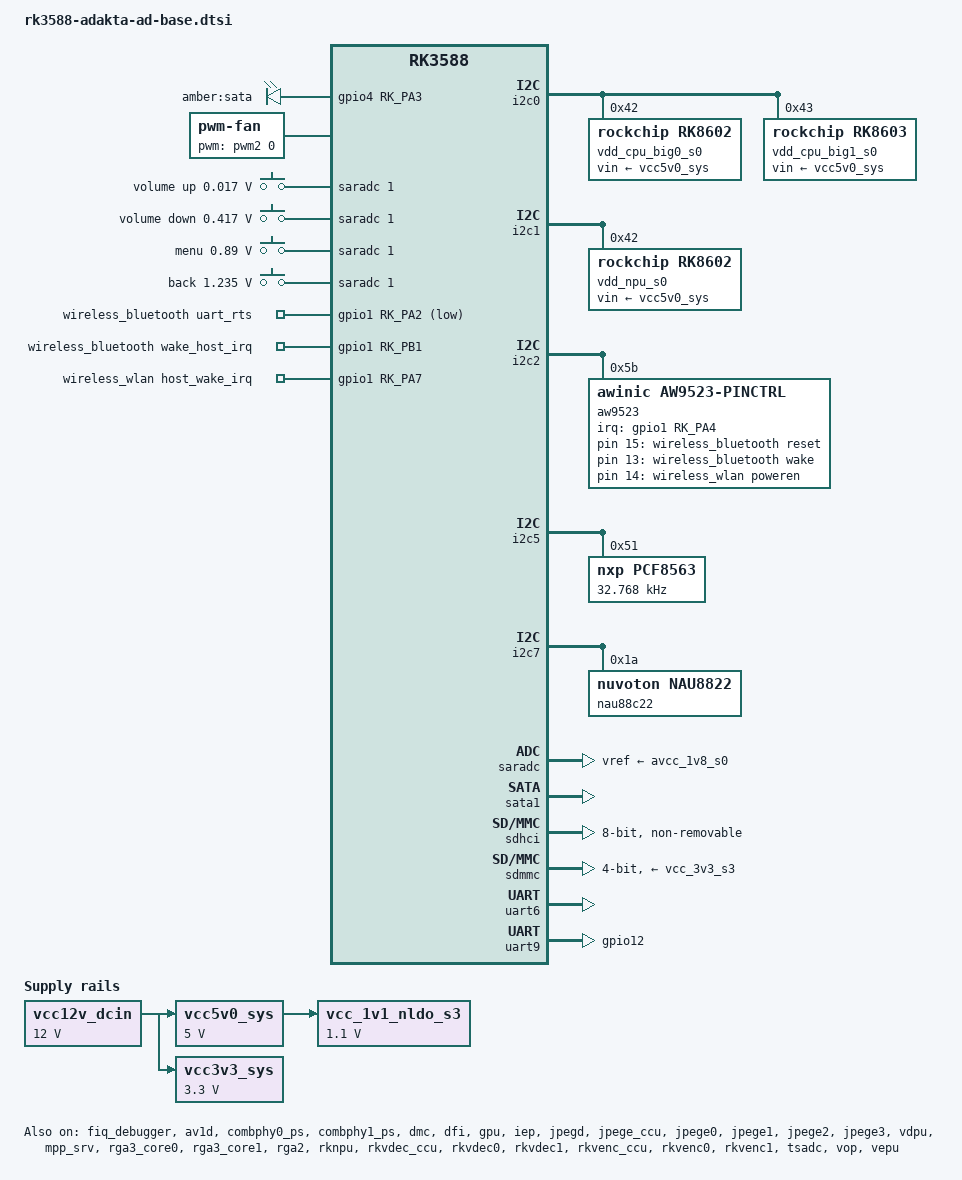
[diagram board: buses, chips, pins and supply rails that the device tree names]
// SPDX-License-Identifier: (GPL-2.0+ OR MIT)
/*
 * Copyright (c) 2024 Adakta, Ltd.
 *
 */

/dts-v1/;

#include <dt-bindings/gpio/gpio.h>
#include <dt-bindings/leds/common.h>
#include <dt-bindings/pwm/pwm.h>
#include <dt-bindings/pinctrl/rockchip.h>
#include <dt-bindings/input/rk-input.h>
#include <dt-bindings/display/drm_mipi_dsi.h>
#include <dt-bindings/display/rockchip_vop.h>
#include <dt-bindings/sensor-dev.h>
#include "dt-bindings/usb/pd.h"
#include "rk3588.dtsi"
#include "rk3588-rk806-single.dtsi"
#include "rk3588-linux.dtsi"

#include "rk3588-adakta-ad-base-camera.dtsi"
#include "rk3588-adakta-ad-base-can.dtsi"
#include "rk3588-adakta-ad-base-display.dtsi"
#include "rk3588-adakta-ad-base-ethernet.dtsi"
#include "rk3588-adakta-ad-base-gpio.dtsi"
#include "rk3588-adakta-ad-base-i2c.dtsi"
#include "rk3588-adakta-ad-base-i2s.dtsi"
#include "rk3588-adakta-ad-base-spi.dtsi"
#include "rk3588-adakta-ad-base-pcie.dtsi"
#include "rk3588-adakta-ad-base-pwm.dtsi"
#include "rk3588-adakta-ad-base-uart.dtsi"
#include "rk3588-adakta-ad-base-usb.dtsi"

// use ttyFIQ0
&fiq_debugger {
	status = "okay";
};

// disable, redirect to ttyFIQ0
&uart2 {
	status = "disabled";
};

/ {
	/delete-node/ chosen;

	aliases {
		ethernet0 = &gmac0;
		ethernet1 = &gmac1;
		/delete-property/ mmc2;
	};

	vcc12v_dcin: vcc12v-dcin {
		compatible = "regulator-fixed";
		regulator-name = "vcc12v_dcin";
		regulator-always-on;
		regulator-boot-on;
		regulator-min-microvolt = <12000000>;
		regulator-max-microvolt = <12000000>;
	};

	vcc5v0_sys: vcc5v0-sys {
		compatible = "regulator-fixed";
		regulator-name = "vcc5v0_sys";
		regulator-always-on;
		regulator-boot-on;
		regulator-min-microvolt = <5000000>;
		regulator-max-microvolt = <5000000>;
		vin-supply = <&vcc12v_dcin>;
	};

	vcc3v3_sys: vcc3v3-sys {
		compatible = "regulator-fixed";
		regulator-name = "vcc3v3_sys";
		regulator-always-on;
		regulator-boot-on;
		regulator-min-microvolt = <3300000>;
		regulator-max-microvolt = <3300000>;
		vin-supply = <&vcc12v_dcin>;
	};

	vcc_1v1_nldo_s3: vcc-1v1-nldo-s3 {
		compatible = "regulator-fixed";
		regulator-name = "vcc_1v1_nldo_s3";
		regulator-always-on;
		regulator-boot-on;
		regulator-min-microvolt = <1100000>;
		regulator-max-microvolt = <1100000>;
		vin-supply = <&vcc5v0_sys>;
	};

	nau88c22_sound: nau88c22-sound {
		status = "okay";
		compatible = "rockchip,multicodecs-card";
		rockchip,card-name = "rockchip-nau88c22";
		rockchip,format = "i2s";
		rockchip,mclk-fs = <256>;
		rockchip,cpu = <&i2s0_8ch>;
		rockchip,codec = <&nau88c22>;
		rockchip,audio-routing =
			"Headphone", "LHP",
			"Headphone", "RHP",
			"Speaker", "LSPK",
			"Speaker", "RSPK",
			"Headphone", "Headphone Power",
			"Headphone", "Headphone Power",
			"Speaker", "Speaker Power",
			"Speaker", "Speaker Power",
			"LMICN", "Main Mic",
			"LMICP", "Main Mic",
			"RMICN", "Headset Mic",
			"RMICP", "Headset Mic";
	};

	gpio-leds {
		compatible = "gpio-leds";
		pinctrl-names = "default";
		pinctrl-0 = <&led_sata_en>;

		led_sata: sata {
			label = "amber:sata";
			gpios = <&gpio4 RK_PA3 GPIO_ACTIVE_HIGH>;
		};
	};

	gpio-keys {
		compatible = "gpio-keys";
	};

	fan: pwm-fan {
		compatible = "pwm-fan";
		#cooling-cells = <2>;
		pwms = <&pwm2 0 50000 0>;
		cooling-levels = <0 50 100 150 200 255>;
		rockchip,temp-trips = <
			50000   1
			55000   2
			60000   3
			65000   4
			70000   5
		>;

		status = "okay";
	};

	adc_keys: adc-keys {
		compatible = "adc-keys";
		io-channels = <&saradc 1>;
		io-channel-names = "buttons";
		keyup-threshold-microvolt = <1800000>;
		poll-interval = <100>;

		vol-up-key {
			label = "volume up";
			linux,code = <KEY_VOLUMEUP>;
			press-threshold-microvolt = <17000>;
		};

		vol-down-key {
			label = "volume down";
			linux,code = <KEY_VOLUMEDOWN>;
			press-threshold-microvolt = <417000>;
		};

		menu-key {
			label = "menu";
			linux,code = <KEY_MENU>;
			press-threshold-microvolt = <890000>;
		};

		back-key {
			label = "back";
			linux,code = <KEY_BACK>;
			press-threshold-microvolt = <1235000>;
		};
	};

	wireless_bluetooth: wireless-bluetooth {
		compatible = "bluetooth-platdata";
		clocks = <&pcf8563>;
		clock-names = "ext_clock";
		uart_rts_gpios = <&gpio1 RK_PA2 GPIO_ACTIVE_LOW>;
		pinctrl-names = "default", "rts_gpio";
		pinctrl-0 = <&uart6m1_rtsn>, <&aw9523_bt_disable_pins>, <&aw9523_bt_host_wake_pins>, <&bt_wake_en>, <&bt_host_wake_irq>;
		pinctrl-1 = <&bt_uart_rts_gpio>;
		BT,reset_gpio    = <&aw9523 15 GPIO_ACTIVE_HIGH>;
		// BT,reset_gpio    = <&gpio1 RK_PA6 GPIO_ACTIVE_HIGH>;
		BT,wake_gpio     = <&aw9523 13 GPIO_ACTIVE_HIGH>;
		BT,wake_host_irq = <&gpio1 RK_PB1 GPIO_ACTIVE_HIGH>;
		status = "okay";
	};

	wireless_wlan: wireless-wlan {
		compatible = "wlan-platdata";
		wifi_chip_type = "ap6275p";
		pinctrl-names = "default";
		pinctrl-0 = <&wifi_host_wake_irq>, <&aw9523_wifi_disable_pins>;
		WIFI,host_wake_irq = <&gpio1 RK_PA7 GPIO_ACTIVE_HIGH>;
		WIFI,poweren_gpio = <&aw9523 14 GPIO_ACTIVE_HIGH>;
		status = "okay";
	};
};

&pinctrl {
	aw9523 {
		aw9523_int: aw9523-int-pin {
			rockchip,pins = <1 RK_PA4 RK_FUNC_GPIO &pcfg_pull_up>;
		};
	};

	sata {
		led_sata_en: led-sata-en {
			rockchip,pins = <4 RK_PA3 RK_FUNC_GPIO &pcfg_output_high>;
		};
	};

	wireless-bluetooth {
		/omit-if-no-ref/
		bt_uart_rts_gpio: bt-uart-rts-gpio {
			rockchip,pins = <1 RK_PA2 RK_FUNC_GPIO &pcfg_pull_none>;
		};

		/omit-if-no-ref/
		bt_wake_en: bt-wake-en {
			rockchip,pins = <1 RK_PA6 RK_FUNC_GPIO &pcfg_pull_none>;
		};

		/omit-if-no-ref/
		bt_host_wake_irq: bt-host-wake-irq {
			rockchip,pins = <1 RK_PB1 RK_FUNC_GPIO &pcfg_pull_none>;
		};
	};

	wireless-wlan {
		/omit-if-no-ref/
		wifi_host_wake_irq: wifi-host-wake-irq {
			rockchip,pins = <1 RK_PA7 RK_FUNC_GPIO &pcfg_pull_down>;
		};
	};
};

&av1d {
	status = "okay";
};

&av1d_mmu {
	status = "okay";
};

&combphy0_ps {
	status = "okay";
};

&combphy1_ps {
	status = "okay";
};

&combphy2_psu {
	status = "disabled";
};

&cpu_l0 {
	cpu-supply = <&vdd_cpu_lit_s0>;
	mem-supply = <&vdd_cpu_lit_mem_s0>;
};

&cpu_b0 {
	cpu-supply = <&vdd_cpu_big0_s0>;
	mem-supply = <&vdd_cpu_big0_mem_s0>;
};

&cpu_b2 {
	cpu-supply = <&vdd_cpu_big1_s0>;
	mem-supply = <&vdd_cpu_big1_mem_s0>;
};

&dmc {
	center-supply = <&vdd_ddr_s0>;
	mem-supply = <&vdd_log_s0>;
	status = "okay";
};

&dfi {
	status = "okay";
};

&gpu {
	mali-supply = <&vdd_gpu_s0>;
	mem-supply = <&vdd_gpu_mem_s0>;
	status = "okay";
};

&i2c0 {
	vdd_cpu_big0_s0: vdd_cpu_big0_mem_s0: rk8602@42 {
		compatible = "rockchip,rk8602";
		reg = <0x42>;
		vin-supply = <&vcc5v0_sys>;
		regulator-compatible = "rk860x-reg";
		regulator-name = "vdd_cpu_big0_s0";
		regulator-min-microvolt = <550000>;
		regulator-max-microvolt = <1050000>;
		regulator-ramp-delay = <2300>;
		rockchip,suspend-voltage-selector = <1>;
		regulator-boot-on;
		regulator-always-on;
		regulator-state-mem {
			regulator-off-in-suspend;
		};
	};

	vdd_cpu_big1_s0: vdd_cpu_big1_mem_s0: rk8603@43 {
		compatible = "rockchip,rk8603";
		reg = <0x43>;
		vin-supply = <&vcc5v0_sys>;
		regulator-compatible = "rk860x-reg";
		regulator-name = "vdd_cpu_big1_s0";
		regulator-min-microvolt = <550000>;
		regulator-max-microvolt = <1050000>;
		regulator-ramp-delay = <2300>;
		rockchip,suspend-voltage-selector = <1>;
		regulator-boot-on;
		regulator-always-on;
		regulator-state-mem {
			regulator-off-in-suspend;
		};
	};
};

&i2c1 {
	vdd_npu_s0: vdd_npu_mem_s0: rk8602@42 {
		compatible = "rockchip,rk8602";
		reg = <0x42>;
		vin-supply = <&vcc5v0_sys>;
		regulator-compatible = "rk860x-reg";
		regulator-name = "vdd_npu_s0";
		regulator-min-microvolt = <550000>;
		regulator-max-microvolt = <950000>;
		regulator-ramp-delay = <2300>;
		rockchip,suspend-voltage-selector = <1>;
		regulator-boot-on;
		regulator-always-on;
		regulator-state-mem {
			regulator-off-in-suspend;
		};
	};
};

&i2c2 {
	aw9523: gpio-expander@5b {
		compatible = "awinic,aw9523-pinctrl";
		reg = <0x5b>;
		gpio-controller;
		#gpio-cells = <2>;

		pinctrl-names = "default";
		pinctrl-0 = <&aw9523_int>;

		interrupts-extended = <&gpio1 RK_PA4 IRQ_TYPE_EDGE_FALLING>;

		status = "okay";

		/* GPIO_P00 */
		/omit-if-no-ref/
		aw9523_cam0_reset_pins: aw9523-cam0-reset-pins {
			pins = "gpio0";
			function = "gpio";
			input-disable;
			output-high;
		};

		/* GPIO_P01 */
		/omit-if-no-ref/
		aw9523_cam0_powerdown_pins: aw9523-cam0-powerdown-pins {
			pins = "gpio1";
			function = "gpio";
			input-disable;
			output-low;
		};

		/* GPIO_P02 */
		/omit-if-no-ref/
		aw9523_cam1_reset_pins: aw9523-cam1-reset-pins {
			pins = "gpio2";
			function = "gpio";
			input-disable;
			output-high;
		};

		/* GPIO_P03 */
		/omit-if-no-ref/
		aw9523_cam1_powerdown_pins: aw9523-cam1-powerdown-pins {
			pins = "gpio3";
			function = "gpio";
			input-disable;
			output-low;
		};

		/* GPIO_P04 */
		/omit-if-no-ref/
		aw9523_cam2_reset_pins: aw9523-cam2-reset-pins {
			pins = "gpio4";
			function = "gpio";
			input-disable;
			output-high;
		};

		/* GPIO_P05 */
		/omit-if-no-ref/
		aw9523_cam2_powerdown_pins: aw9523-cam2-powerdown-pins {
			pins = "gpio5";
			function = "gpio";
			input-disable;
			output-low;
		};

		/* GPIO_P06 */
		/omit-if-no-ref/
		aw9523_cam3_reset_pins: aw9523-cam3-reset-pins {
			pins = "gpio6";
			function = "gpio";
			input-disable;
			output-high;
		};

		/* GPIO_P07 */
		/omit-if-no-ref/
		aw9523_cam3_powerdown_pins: aw9523-cam3-powerdown-pins {
			pins = "gpio7";
			function = "gpio";
			input-disable;
			output-low;
		};

		/* GPIO_P10 */
		/omit-if-no-ref/
		aw9523_cam4_reset_pins: aw9523-cam4-reset-pins {
			pins = "gpio8";
			function = "gpio";
			input-disable;
			output-high;
		};

		/* GPIO_P11 */
		/omit-if-no-ref/
		aw9523_cam4_powerdown_pins: aw9523-cam4-powerdown-pins {
			pins = "gpio9";
			function = "gpio";
			input-disable;
			output-low;
		};

		/* GPIO_P12 */
		/omit-if-no-ref/
		aw9523_cam5_reset_pins: aw9523-cam5-reset-pins {
			pins = "gpio10";
			function = "gpio";
			input-disable;
			output-high;
		};

		/* GPIO_P13 */
		/omit-if-no-ref/
		aw9523_cam5_powerdown_pins: aw9523-cam5-powerdown-pins {
			pins = "gpio11";
			function = "gpio";
			input-disable;
			output-low;
		};

		/* GPIO_P14 */
		/omit-if-no-ref/
		aw9523_uart_rs485_re_de_pins: aw9523-uart-rs485-re-de-pins {
			pins = "gpio12";
			function = "gpio";
			input-disable;
			output-high;
		};

		/* GPIO_P15 */
		/omit-if-no-ref/
		aw9523_bt_host_wake_pins: aw9523-bt-host-wake-pins {
			pins = "gpio13";
			function = "gpio";
			input-disable;
			output-low;
		};

		/* GPIO_P16 */
		/omit-if-no-ref/
		aw9523_wifi_disable_pins: aw9523-wifi-disable-pins {
			pins = "gpio14";
			function = "gpio";
			input-disable;
			output-high;
		};

		/* GPIO_P17 */
		/omit-if-no-ref/
		aw9523_bt_disable_pins: aw9523-bt-disable-pins {
			pins = "gpio15";
			function = "gpio";
			input-disable;
			output-high;
		};

		/* GPIO_P16 / GPIO_P17 */
		/omit-if-no-ref/
		aw9523_led_pins: aw9523-led-pins {
			pins = "gpio14", "gpio15";
			function = "gpio";
			input-disable;
			output-low;
		};
	};
};

&i2c5 {
	pcf8563: pcf8563@51 {
		compatible = "nxp,pcf8563";
		reg = <0x51>;
		#clock-cells = <0>;
		clock-frequency = <32768>;
		clock-output-names = "pcf8563";
		status = "okay";
	};
};

&i2c7 {
	nau88c22: nau88c22@1a {
		compatible = "nuvoton,nau8822";
		reg = <0x1a>;
		clocks = <&mclkout_i2s0>;
		clock-names = "mclk";
		pinctrl-names = "default";
		pinctrl-0 = <&i2s0_mclk>;
		#sound-dai-cells = <0>;
	};
};

&iep {
	status = "okay";
};

&iep_mmu {
	status = "okay";
};

&jpegd {
	status = "okay";
};

&jpegd_mmu {
	status = "okay";
};

&jpege_ccu {
	status = "okay";
};

&jpege0 {
	status = "okay";
};

&jpege0_mmu {
	status = "okay";
};

&jpege1 {
	status = "okay";
};

&jpege1_mmu {
	status = "okay";
};

&jpege2 {
	status = "okay";
};

&jpege2_mmu {
	status = "okay";
};

&jpege3 {
	status = "okay";
};

&jpege3_mmu {
	status = "okay";
};

&vdpu {
	status = "okay";
};

&vdpu_mmu {
	status = "okay";
};

&mpp_srv {
	status = "okay";
};

&rga3_core0 {
	status = "okay";
};

&rga3_0_mmu {
	status = "okay";
};

&rga3_core1 {
	status = "okay";
};

&rga3_1_mmu {
	status = "okay";
};

&rga2 {
	status = "okay";
};

&rknpu {
	rknpu-supply = <&vdd_npu_s0>;
	mem-supply = <&vdd_npu_mem_s0>;
	status = "okay";
};

&rknpu_mmu {
	status = "okay";
};

&rkvdec_ccu {
	status = "okay";
};

&rkvdec0 {
	status = "okay";
};

&rkvdec0_mmu {
	status = "okay";
};

&rkvdec1 {
	status = "okay";
};

&rkvdec1_mmu {
	status = "okay";
};

&rkvenc_ccu {
	status = "okay";
};

&rkvenc0 {
	status = "okay";
};

&rkvenc0_mmu {
	status = "okay";
};

&rkvenc1 {
	status = "okay";
};

&rkvenc1_mmu {
	status = "okay";
};

&rockchip_suspend {
	compatible = "rockchip,pm-rk3588";
	status = "okay";
	rockchip,sleep-debug-en = <1>;
	rockchip,sleep-mode-config = <
		(0
		| RKPM_SLP_ARMOFF_DDRPD
		)
	>;
	rockchip,wakeup-config = <
		(0
		| RKPM_GPIO_WKUP_EN
		| RKPM_USB_WKUP_EN
		)
	>;
};

&saradc {
	status = "okay";
	vref-supply = <&avcc_1v8_s0>;
};

&sata1 {
	status = "okay";
};

&sdhci {
	bus-width = <8>;
	no-sdio;
	no-sd;
	non-removable;
	max-frequency = <200000000>;
	mmc-hs400-1_8v;
	mmc-hs400-enhanced-strobe;
	status = "okay";
};

&sdmmc {
	max-frequency = <200000000>;
	no-sdio;
	no-mmc;
	bus-width = <4>;
	cap-mmc-highspeed;
	cap-sd-highspeed;
	disable-wp;
	sd-uhs-sdr104;
	vmmc-supply = <&vcc_3v3_s3>;
	vqmmc-supply = <&vccio_sd_s0>;
	pinctrl-names = "default";
	pinctrl-0 = <&sdmmc_bus4 &sdmmc_clk &sdmmc_cmd &sdmmc_det>;
	status = "okay";
};

&sfc {
	status = "disabled";
};

&tsadc {
	status = "okay";
};

&vop {
	status = "okay";
};

&vop_mmu {
	status = "okay";
};

&vepu {
	status = "okay";
};

/* vp0 & vp1 splice for 8K output */
&vp0 {
	rockchip,plane-mask = <(1 << ROCKCHIP_VOP2_CLUSTER0 | 1 << ROCKCHIP_VOP2_ESMART0)>;
	rockchip,primary-plane = <ROCKCHIP_VOP2_CLUSTER0>;
	cursor-win-id = <ROCKCHIP_VOP2_ESMART0>;
};

&vp1 {
	rockchip,plane-mask = <(1 << ROCKCHIP_VOP2_CLUSTER1 | 1 << ROCKCHIP_VOP2_ESMART1)>;
	rockchip,primary-plane = <ROCKCHIP_VOP2_CLUSTER1>;
	cursor-win-id = <ROCKCHIP_VOP2_ESMART1>;
};

&vp2 {
	rockchip,plane-mask = <(1 << ROCKCHIP_VOP2_CLUSTER2 | 1 << ROCKCHIP_VOP2_ESMART2)>;
	rockchip,primary-plane = <ROCKCHIP_VOP2_CLUSTER2>;
	cursor-win-id = <ROCKCHIP_VOP2_ESMART2>;
};

&vp3 {
	rockchip,plane-mask = <(1 << ROCKCHIP_VOP2_CLUSTER3 | 1 << ROCKCHIP_VOP2_ESMART3)>;
	rockchip,primary-plane = <ROCKCHIP_VOP2_CLUSTER3>;
	cursor-win-id = <ROCKCHIP_VOP2_ESMART3>;
};

&avdd_0v75_s0 {
	regulator-state-mem {
		regulator-on-in-suspend;
		regulator-suspend-microvolt = <837500>;
	};
};

&avcc_1v8_s0 {
	regulator-state-mem {
		regulator-on-in-suspend;
		regulator-suspend-microvolt = <1800000>;
	};
};

&vcc_1v8_s0 {
	regulator-state-mem {
		regulator-on-in-suspend;
		regulator-suspend-microvolt = <1800000>;
	};
};

&vcc_3v3_s0 {
	regulator-state-mem {
		regulator-on-in-suspend;
		regulator-suspend-microvolt = <3300000>;
	};
};

&vdd_log_s0 {
	regulator-state-mem {
		regulator-on-in-suspend;
		regulator-suspend-microvolt = <750000>;
	};
};

&vdd_ddr_pll_s0 {
	regulator-state-mem {
		regulator-on-in-suspend;
		regulator-suspend-microvolt = <850000>;
	};
};

&pcie2x1l0 {
	rockchip,default-link-up;
};

&uart6 {
	pinctrl-names = "default";
	pinctrl-0 = <&uart6m1_xfer &uart6m1_ctsn>;
	status = "okay";
};

&uart9 {
	pinctrl-names = "default";
	pinctrl-0 = <&uart9m2_xfer &aw9523_uart_rs485_re_de_pins>;
	status = "okay";
};
